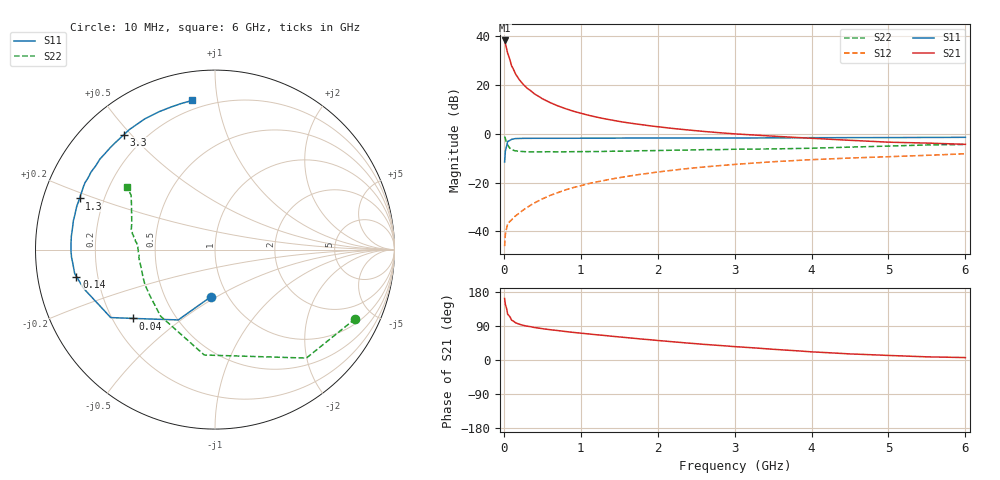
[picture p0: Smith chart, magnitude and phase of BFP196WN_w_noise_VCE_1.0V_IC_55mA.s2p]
! (c) 2017  Infineon Technologies AG, Munich
! Infineon Technologies  Discrete & RF Semiconductors
! BFP196WN
! VCE =  1.0 V,  IC =  55 mA
! Common Emitter S-Parameters:  Jan 2017
# GHz  S  MA  R  50
!  f  S11  S21  S12  S22
! GHz  MAG  ANG  MAG  ANG  MAG  ANG  MAG  ANG
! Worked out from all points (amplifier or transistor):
!   77 points, 10 MHz to 6 GHz, reference 50 ohm
!   highest |S21| = 38.1 dB at 10 MHz (marker M1)
!   |S21| within 3 dB of that: start of sweep to 33.02 MHz
!   unconditionally stable (mu >= 1): 492.4 MHz to 3.252 GHz
!   at 130 MHz: K = 0.63, MSG = 30.1 dB, |S12| = -34.3 dB
!   at 2.2 GHz: K = 1.03, MAG = 7.4 dB, |S12| = -15.0 dB
!   at 6 GHz: K = 0.96, MSG = 1.9 dB, |S12| = -8.2 dB
!   lowest NFmin = 1.34 dB at 450 MHz
!   S11 on the Smith chart (normalised r, x): 10 MHz: 0.84, -0.47; 40 MHz: 0.29, -0.34; 140 MHz: 0.12, -0.09; 1.3 GHz: 0.11, +0.18; 3.3 GHz: 0.12, +0.48; 6 GHz: 0.15, +0.85
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0.01  0.2626 -94.7  80.35 162.4  0.005 76.2  0.8709 -26.3
0.02  0.4422 -117.6  69.2 146.4  0.0087 64.7  0.7902 -49.9
0.04  0.5953 -139.9  51.01 131.9  0.0124 50.4  0.6071 -77.6
0.05  0.6935 -146.9  43.88 120.5  0.0144 46.1  0.5903 -95.8
0.1  0.7636 -163.6  24.5 105.2  0.0172 45.7  0.4791 -129.2
0.14  0.7864 -169.0  18.35 100.3  0.02 47.8  0.4482 -141.7
0.15  0.7931 -170.3  16.85 98.5  0.0207 48.2  0.444 -145.0
0.2  0.7957 -174.3  12.74 94.5  0.0237 53.7  0.4362 -153.4
0.25  0.8005 -177.0  10.25 91.6  0.0273 56.7  0.4303 -158.6
0.3  0.8021 -179.2  8.566 89.4  0.0308 59.6  0.4253 -162.9
0.4  0.8029 177.4  6.461 85.6  0.0384 63.7  0.4236 -167.6
0.5  0.8038 174.8  5.174 82.7  0.0463 65.4  0.425 -171.1
0.7  0.8034 170.5  3.705 77.7  0.062 68.4  0.4243 -175.7
0.9  0.8044 166.4  2.884 72.9  0.0787 68.2  0.4276 -178.4
1.1  0.8069 162.8  2.378 68.8  0.095 68.1  0.4294 179.1
1.3  0.8063 159.3  2.028 64.9  0.1099 66.9  0.4329 177.6
2.1  0.8131 146.5  1.328 49.8  0.1715 61.1  0.4546 171.6
3.1  0.8149 131.4  0.968 34.0  0.2408 51.8  0.4809 165.6
3.3  0.8171 128.4  0.927 31.3  0.2535 50.0  0.4836 164.0
4.1  0.8266 117.0  0.788 20.5  0.2982 42.6  0.5083 156.1
5.1  0.8318 106.3  0.663 11.3  0.3419 34.7  0.5627 146.7
6  0.8408 98.6  0.604 6.4  0.3873 28.8  0.6006 144.7
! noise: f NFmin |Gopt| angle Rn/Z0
0.45  1.34  0.54  -177  0.05
0.9  1.44  0.57  -170  0.06
1.9  2.36  0.69  -147  0.17
2.4  3.11  0.7  -140  0.29
